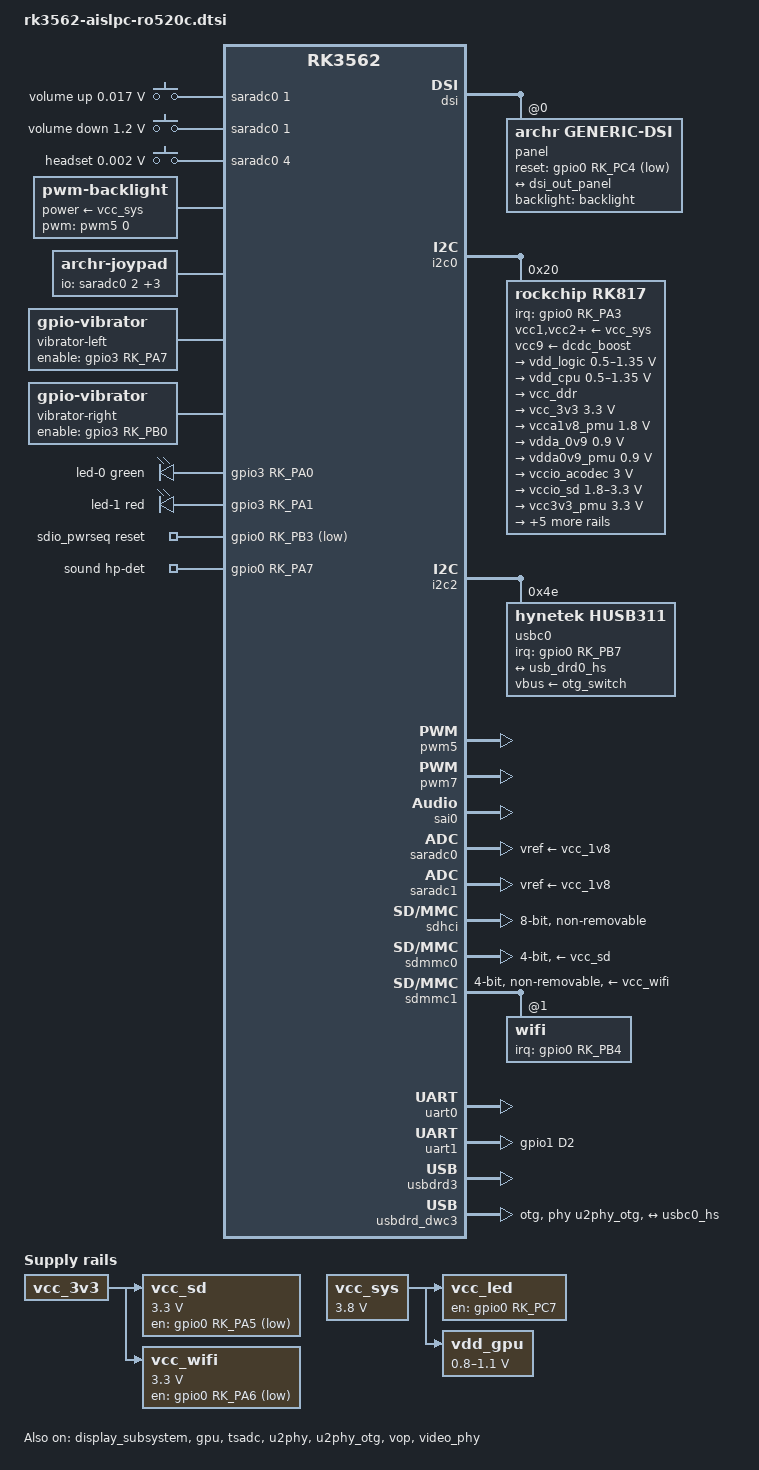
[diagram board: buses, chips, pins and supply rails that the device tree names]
// SPDX-License-Identifier: (GPL-2.0+ OR MIT)
/*
 * AISLPC "ro520c" board (RK3562), shared by the RG43V PRO and the RG52 MINI.
 *
 * Written for Arch R from the factory device trees of both consoles
 * (rk3562-ro520c-lp3x-v10/v14-linux.dtb, EmuELEC 4.7 firmware, decompiled
 * in .work/aislpc/<model>/dts) and from the AISLPC Pocket AIS mainline
 * tree (beebono/distribution, branch rk3562-pocket-ais), the closest
 * sibling device with a mainline DT. Line numbers in comments ("fab l.N")
 * refer to rg43vpro/dts/rk3562-ro520c-lp3x-v14-linux.resolvido.dts unless
 * another file is named.
 *
 * One DTB per panel, no overlays. Board revisions v10 and v14 share this
 * file; see the "v10/v14" notes below and LEIAME.md.
 */

#include <dt-bindings/gpio/gpio.h>
#include <dt-bindings/input/input.h>
#include <dt-bindings/interrupt-controller/irq.h>
#include <dt-bindings/leds/common.h>
#include <dt-bindings/pinctrl/rockchip.h>
#include <dt-bindings/pwm/pwm.h>
#include <dt-bindings/soc/rockchip,vop2.h>
#include <dt-bindings/usb/pd.h>
#include "rk3562.dtsi"

/ {
	aliases {
		mmc0 = &sdhci;
		mmc1 = &sdmmc0;
		mmc2 = &sdmmc1;
		serial0 = &uart0;
		serial1 = &uart1;
	};

	chosen: chosen {
		/* Factory console: fiq-debugger on UART0 at 1500000 (fab l.1599). */
		stdout-path = "serial0:1500000n8";
	};

	/* Volume keys on SARADC0 channel 1 (fab extrato-v14 l.1-17). */
	adc-keys-volume {
		compatible = "adc-keys";
		io-channels = <&saradc0 1>;
		io-channel-names = "buttons";
		keyup-threshold-microvolt = <1800000>;
		poll-interval = <100>;

		button-vol-up {
			label = "volume up";
			linux,code = <KEY_VOLUMEUP>;
			press-threshold-microvolt = <17000>;
		};

		button-vol-down {
			label = "volume down";
			linux,code = <KEY_VOLUMEDOWN>;
			press-threshold-microvolt = <1200000>;
		};
	};

	/* Headset button on SARADC0 channel 4 (rk817-sound, fab l.1150-1160). */
	adc-keys-headset {
		compatible = "adc-keys";
		io-channels = <&saradc0 4>;
		io-channel-names = "buttons";
		keyup-threshold-microvolt = <1800000>;
		poll-interval = <100>;

		button-headset {
			label = "headset";
			linux,code = <KEY_PLAYPAUSE>;
			press-threshold-microvolt = <2000>;
		};
	};

	/*
	 * SARADC0 channel 7 carries the board revision strap read by the
	 * factory U-Boot (< 1.5 V = v10, above = v14, RELATORIO 1.3) and, on
	 * the RG43V v14, a reset key (rst-keys, KEY_F1). It is left out: on a
	 * v10 board the channel sits low and would report a stuck key.
	 */

	/* Backlight: PWM5 (pwm@ff700010), 40 kHz, factory table (fab l.18-24). */
	backlight: backlight {
		compatible = "pwm-backlight";
		pwms = <&pwm5 0 25000 0>;
		power-supply = <&vcc_sys>;
		brightness-levels = <
			  0  20  20  21  21  22  22  23  23  24  24  25  25  26  26  27
			 27  28  28  29  29  30  30  31  31  32  32  33  33  34  34  35
			 35  36  36  37  37  38  38  39  40  41  42  43  44  45  46  47
			 48  49  50  51  52  53  54  55  56  57  58  59  60  61  62  63
			 64  65  66  67  68  69  70  71  72  73  74  75  76  77  78  79
			 80  81  82  83  84  85  86  87  88  89  90  91  92  93  94  95
			 96  97  98  99 100 101 102 103 104 105 106 107 108 109 110 111
			112 113 114 115 116 117 118 119 120 121 122 123 124 125 126 127
			128 129 130 131 132 133 134 135 136 137 138 139 140 141 142 143
			144 145 146 147 148 149 150 151 152 153 154 155 156 157 158 159
			160 161 162 163 164 165 166 167 168 169 170 171 172 173 174 175
			176 177 178 179 180 181 182 183 184 185 186 187 188 189 190 191
			192 193 194 195 196 197 198 199 200 201 202 203 204 205 206 207
			208 209 210 211 212 213 214 215 216 217 218 219 220 221 222 223
			224 225 226 227 228 229 230 231 232 233 234 235 236 237 238 239
			240 241 242 243 244 245 246 247 248 249 250 251 252 253 254 255>;
		default-brightness-level = <200>;
	};

	/*
	 * All game controls as one archr-joypad device (factory play_joystick,
	 * fab extrato-v14 l.1050-1121), with the R36S identity and button codes
	 * so its SDL, RetroArch and input_sense mappings apply unchanged.
	 *
	 * Sticks on SARADC0 channels 2, 3 (left) and 5, 6 (right). SARADC is
	 * 10 bit on a 1.8 V reference; factory calibration: 250..1550 mV,
	 * centre dead zone 790..1010 mV. The right stick reads low voltage as
	 * right/down (BSP rk3562-joystick.c, bmdhacks/kernel_rk3562 557e5c28),
	 * hence invert-absrx/ry; the left stick polarity is set per model.
	 *
	 * D-pad left/right/down and the face buttons A, X, Y are single buttons
	 * on SARADC1 channels 0, 2, 3, 5, 6, 7, released at 1.8 V; the press
	 * threshold is per model (RG43V 600 mV, RG52 80 mV), set in the .dts.
	 *
	 * L2/R2 are analog on SARADC1 channels 1 and 4 (50..800 mV, released =
	 * high). They are reported as the digital BTN_TL2/BTN_TR2 of the R36S:
	 * extra ABS_Z/ABS_RZ axes would renumber the right stick axes in SDL
	 * and RetroArch (axes are numbered in ABS code order).
	 *
	 * GPIO buttons are active low with pull-ups (fab extrato-v14
	 * l.1065-1066).
	 */
	joypad: joypad {
		compatible = "archr-joypad";
		pinctrl-names = "default";
		pinctrl-0 = <&btn_pins>;

		joypad-name = "r36s_Gamepad";
		joypad-bustype = <0x19>;		/* BUS_HOST */
		joypad-vendor = <0x0001>;
		joypad-product = <0x1188>;
		joypad-revision = <0x0188>;

		io-channels = <&saradc0 2>, <&saradc0 3>,
			      <&saradc0 5>, <&saradc0 6>;
		io-channel-names = "joy_left_x", "joy_left_y",
				   "joy_right_x", "joy_right_y";
		abs-left-first;

		poll-interval = <10>;

		/* reports in mV x 2: range -1800..1800 */
		button-adc-scale = <2>;
		/* factory centre dead zone is +-110 mV (220 here) */
		button-adc-deadzone = <200>;
		button-adc-fuzz = <32>;
		button-adc-flat = <32>;

		/* +-650 mV travel to full range after the dead zone */
		abs_x-p-tuning = <145>;
		abs_x-n-tuning = <145>;
		abs_y-p-tuning = <145>;
		abs_y-n-tuning = <145>;
		abs_rx-p-tuning = <145>;
		abs_rx-n-tuning = <145>;
		abs_ry-p-tuning = <145>;
		abs_ry-n-tuning = <145>;

		invert-absx = <0>;
		invert-absy = <0>;
		invert-absrx = <1>;
		invert-absry = <1>;

		key_left: button-dpad-left {
			io-channels = <&saradc1 0>;
			label = "DPAD-LEFT";
			linux,code = <BTN_DPAD_LEFT>;
			press-threshold-microvolt = <600000>;
		};

		key_right: button-dpad-right {
			io-channels = <&saradc1 2>;
			label = "DPAD-RIGHT";
			linux,code = <BTN_DPAD_RIGHT>;
			press-threshold-microvolt = <600000>;
		};

		key_down: button-dpad-down {
			io-channels = <&saradc1 3>;
			label = "DPAD-DOWN";
			linux,code = <BTN_DPAD_DOWN>;
			press-threshold-microvolt = <600000>;
		};

		key_south: button-south {
			io-channels = <&saradc1 5>;
			label = "SOUTH";
			linux,code = <BTN_SOUTH>;
			press-threshold-microvolt = <600000>;
		};

		key_north: button-north {
			io-channels = <&saradc1 6>;
			label = "NORTH";
			linux,code = <BTN_NORTH>;
			press-threshold-microvolt = <600000>;
		};

		key_west: button-west {
			io-channels = <&saradc1 7>;
			label = "WEST";
			linux,code = <BTN_WEST>;
			press-threshold-microvolt = <600000>;
		};

		/* Pressed below 400 mV, released above 500 mV. */
		button-l2 {
			io-channels = <&saradc1 1>;
			label = "L2";
			linux,code = <BTN_TL2>;
			press-threshold-microvolt = <400000>;
			release-threshold-microvolt = <500000>;
		};

		button-r2 {
			io-channels = <&saradc1 4>;
			label = "R2";
			linux,code = <BTN_TR2>;
			press-threshold-microvolt = <400000>;
			release-threshold-microvolt = <500000>;
		};

		button-l1 {
			gpios = <&gpio1 RK_PC7 GPIO_ACTIVE_LOW>;
			label = "L1";
			linux,code = <BTN_TL>;
		};

		button-dpad-up {
			gpios = <&gpio1 RK_PD0 GPIO_ACTIVE_LOW>;
			label = "DPAD-UP";
			linux,code = <BTN_DPAD_UP>;
		};

		button-r1 {
			gpios = <&gpio1 RK_PD5 GPIO_ACTIVE_LOW>;
			label = "R1";
			linux,code = <BTN_TR>;
		};

		button-east {
			gpios = <&gpio1 RK_PD6 GPIO_ACTIVE_LOW>;
			label = "EAST";
			linux,code = <BTN_EAST>;
		};

		button-select {
			gpios = <&gpio1 RK_PD3 GPIO_ACTIVE_LOW>;
			label = "SELECT";
			linux,code = <BTN_SELECT>;
		};

		button-start {
			gpios = <&gpio1 RK_PD7 GPIO_ACTIVE_LOW>;
			label = "START";
			linux,code = <BTN_START>;
		};

		/*
		 * GPIO1_D4: FN on the RG43V, HOME on the RG52 (per .dts). FN is
		 * BTN_MODE as on the R36S (input_sense hotkey).
		 */
		button_d4: button-d4 {
			gpios = <&gpio1 RK_PD4 GPIO_ACTIVE_LOW>;
			label = "FN";
			linux,code = <BTN_MODE>;
		};

		button-thumbl {
			gpios = <&gpio0 RK_PC5 GPIO_ACTIVE_LOW>;
			label = "THUMBL";
			linux,code = <BTN_THUMBL>;
		};

		button-thumbr {
			gpios = <&gpio0 RK_PC6 GPIO_ACTIVE_LOW>;
			label = "THUMBR";
			linux,code = <BTN_THUMBR>;
		};
	};

	/* Two on/off rumble motors (moto-gpio, moto-r-gpio, fab l.1067-1068). */
	vibrator-left {
		compatible = "gpio-vibrator";
		enable-gpios = <&gpio3 RK_PA7 GPIO_ACTIVE_HIGH>;
		pinctrl-names = "default";
		pinctrl-0 = <&vibrator_l_en>;
	};

	vibrator-right {
		compatible = "gpio-vibrator";
		enable-gpios = <&gpio3 RK_PB0 GPIO_ACTIVE_HIGH>;
		pinctrl-names = "default";
		pinctrl-0 = <&vibrator_r_en>;
	};

	/*
	 * Charge LEDs (charge_green_gpio / charge_red_gpio of the BSP battery
	 * driver, fab l.583-585), now driven by the rk817 charger triggers.
	 */
	leds {
		compatible = "gpio-leds";
		pinctrl-names = "default";
		pinctrl-0 = <&charge_led_pins>;

		led-0 {
			color = <LED_COLOR_ID_GREEN>;
			function = LED_FUNCTION_CHARGING;
			function-enumerator = <0>;
			gpios = <&gpio3 RK_PA0 GPIO_ACTIVE_HIGH>;
			linux,default-trigger = "rk817-charger-full";
		};

		led-1 {
			color = <LED_COLOR_ID_RED>;
			function = LED_FUNCTION_CHARGING;
			function-enumerator = <1>;
			gpios = <&gpio3 RK_PA1 GPIO_ACTIVE_HIGH>;
			linux,default-trigger = "rk817-charger-charging";
		};
	};

	/*
	 * SDIO Wi-Fi (RK915 on v10, AIC8800 on v14): both drivers are out of
	 * tree and find their chip by SDIO id, so one description serves both.
	 * Reset (WL_REG_ON) GPIO0_B3 active low, 32 kHz from RK817 clkout2,
	 * 200 ms after power on (fab sdio-pwrseq l.1178-1186).
	 */
	sdio_pwrseq: sdio-pwrseq {
		compatible = "mmc-pwrseq-simple";
		clocks = <&rk817 1>;
		clock-names = "ext_clock";
		pinctrl-names = "default";
		pinctrl-0 = <&wifi_enable_h>;
		post-power-on-delay-ms = <200>;
		reset-gpios = <&gpio0 RK_PB3 GPIO_ACTIVE_LOW>;
	};

	sound {
		compatible = "simple-audio-card";
		pinctrl-names = "default";
		pinctrl-0 = <&hp_det>;
		/* Same card name as the R36S, so Arch R's rk817 UCM applies. */
		simple-audio-card,name = "rk817_int";
		simple-audio-card,format = "i2s";
		simple-audio-card,hp-det-gpios = <&gpio0 RK_PA7 GPIO_ACTIVE_HIGH>;
		simple-audio-card,mclk-fs = <256>;
		simple-audio-card,widgets =
			"Microphone", "Mic Jack",
			"Headphone", "Headphones",
			"Speaker", "Speaker";
		simple-audio-card,routing =
			"MICL", "Mic Jack",
			"Headphones", "HPOL",
			"Headphones", "HPOR",
			"Speaker", "SPKO";

		simple-audio-card,codec {
			sound-dai = <&rk817>;
		};

		simple-audio-card,cpu {
			sound-dai = <&sai0>;
		};
	};

	/* LED MCU of the sticks (UART1, 9600 8N1), RELATORIO 5.3. */
	vcc_led: regulator-vcc-led {
		compatible = "regulator-fixed";
		enable-active-high;
		gpio = <&gpio0 RK_PC7 GPIO_ACTIVE_HIGH>;
		pinctrl-names = "default";
		pinctrl-0 = <&led_en>;
		regulator-always-on;
		regulator-boot-on;
		regulator-name = "vcc_led";
		vin-supply = <&vcc_sys>;
	};

	/* TF card power: GPIO0_A5 active low (fab vcc-sd l.1325-1336). */
	vcc_sd: regulator-vcc-sd {
		compatible = "regulator-fixed";
		gpio = <&gpio0 RK_PA5 GPIO_ACTIVE_LOW>;
		pinctrl-names = "default";
		pinctrl-0 = <&vcc_sd_en>;
		regulator-boot-on;
		regulator-max-microvolt = <3300000>;
		regulator-min-microvolt = <3300000>;
		regulator-name = "vcc_sd";
		vin-supply = <&vcc_3v3>;
	};

	vcc_sys: regulator-vcc-sys {
		compatible = "regulator-fixed";
		regulator-always-on;
		regulator-boot-on;
		regulator-max-microvolt = <3800000>;
		regulator-min-microvolt = <3800000>;
		regulator-name = "vcc_sys";
	};

	/*
	 * Wi-Fi module power: WIFI,poweren_gpio GPIO0_A6 active low in the
	 * factory wlan-platdata (fab l.1362-1370). The BSP rfkill driver
	 * drives it; mainline has no such driver, so it becomes the vmmc
	 * supply of the SDIO slot. [I] polarity from the factory DT, untested.
	 */
	vcc_wifi: regulator-vcc-wifi {
		compatible = "regulator-fixed";
		gpio = <&gpio0 RK_PA6 GPIO_ACTIVE_LOW>;
		pinctrl-names = "default";
		pinctrl-0 = <&wifi_poweren>;
		regulator-name = "vcc_wifi";
		regulator-max-microvolt = <3300000>;
		regulator-min-microvolt = <3300000>;
		vin-supply = <&vcc_3v3>;
	};

	/*
	 * GPU supply: PWM7 (pwm@ff700030), 5 us, inverted, 0.8..1.1 V
	 * (fab vdd-gpu l.1338-1349; the min was stored as a string there,
	 * bytes 00 0c 35 00 = 800000).
	 */
	vdd_gpu: regulator-vdd-gpu {
		compatible = "pwm-regulator";
		pwms = <&pwm7 0 5000 PWM_POLARITY_INVERTED>;
		pwm-supply = <&vcc_sys>;
		regulator-always-on;
		regulator-boot-on;
		regulator-max-microvolt = <1100000>;
		regulator-min-microvolt = <800000>;
		regulator-name = "vdd_gpu";
		regulator-settling-time-up-us = <250>;
	};
};

&cpu0 {
	cpu-supply = <&vdd_cpu>;
};

&cpu1 {
	cpu-supply = <&vdd_cpu>;
};

&cpu2 {
	cpu-supply = <&vdd_cpu>;
};

&cpu3 {
	cpu-supply = <&vdd_cpu>;
};

/*
 * The mainline table already holds the factory L0 (worst leakage) voltages
 * (fab cpu0-opp-table l.38-176), 408..2016 MHz. Only 1608 MHz carries
 * opp-supported-hw, which nothing sets on mainline, so the OPP core drops
 * it; the factory gives it the same mask (0xf9) as every other non-"J"
 * OPP. Make it usable like its neighbours.
 */
&cpu0_opp_table {
	opp-1608000000 {
		/delete-property/ opp-supported-hw;
	};
};

&display_subsystem {
	status = "okay";
};

&dsi {
	status = "okay";
	#address-cells = <1>;
	#size-cells = <0>;

	/* Panel: archr,generic-dsi; mode and init sequence in each .dts. */
	panel: panel@0 {
		compatible = "archr,generic-dsi";
		reg = <0>;
		backlight = <&backlight>;
		reset-gpios = <&gpio0 RK_PC4 GPIO_ACTIVE_LOW>;

		port {
			panel_in_dsi: endpoint {
				remote-endpoint = <&dsi_out_panel>;
			};
		};
	};
};

&dsi_in {
	dsi_in_vp0: endpoint {
		remote-endpoint = <&vp0_out_dsi>;
	};
};

&dsi_out {
	dsi_out_panel: endpoint {
		remote-endpoint = <&panel_in_dsi>;
	};
};

&gpu {
	mali-supply = <&vdd_gpu>;
	status = "okay";
};

&i2c0 {
	status = "okay";

	rk817: pmic@20 {
		compatible = "rockchip,rk817";
		reg = <0x20>;
		interrupt-parent = <&gpio0>;
		interrupts = <RK_PA3 IRQ_TYPE_LEVEL_LOW>;
		#clock-cells = <1>;
		clock-output-names = "rk808-clkout1", "rk808-clkout2";
		/* Codec MCLK: SAI0 MCLK through the GRF gate (Armbian 0014). */
		clocks = <&cru MCLK_SAI0_TO_IO>;
		clock-names = "mclk";
		assigned-clocks = <&cru MCLK_SAI0_OUT2IO>;
		assigned-clock-parents = <&cru MCLK_SAI0>;
		pinctrl-names = "default";
		/* spk_amp_en: the codec child is not a device of its own. */
		pinctrl-0 = <&i2s0m0_mclk>, <&pmic_int>, <&spk_amp_en>;
		system-power-controller;
		wakeup-source;
		#sound-dai-cells = <0>;

		vcc1-supply = <&vcc_sys>;
		vcc2-supply = <&vcc_sys>;
		vcc3-supply = <&vcc_sys>;
		vcc4-supply = <&vcc_sys>;
		vcc5-supply = <&vcc_sys>;
		vcc6-supply = <&vcc_sys>;
		vcc7-supply = <&vcc_sys>;
		vcc8-supply = <&vcc_sys>;
		vcc9-supply = <&dcdc_boost>;

		/* Regulators as in the factory DT (fab l.684-866). */
		regulators {
			vdd_logic: DCDC_REG1 {
				regulator-always-on;
				regulator-boot-on;
				regulator-initial-mode = <0x2>;
				regulator-max-microvolt = <1350000>;
				regulator-min-microvolt = <500000>;
				regulator-name = "vdd_logic";
				regulator-ramp-delay = <6001>;

				regulator-state-mem {
					regulator-off-in-suspend;
					regulator-suspend-microvolt = <900000>;
				};
			};

			vdd_cpu: DCDC_REG2 {
				regulator-always-on;
				regulator-boot-on;
				regulator-initial-mode = <0x2>;
				regulator-max-microvolt = <1350000>;
				regulator-min-microvolt = <500000>;
				regulator-name = "vdd_cpu";
				regulator-ramp-delay = <6001>;

				regulator-state-mem {
					regulator-off-in-suspend;
				};
			};

			vcc_ddr: DCDC_REG3 {
				regulator-always-on;
				regulator-boot-on;
				regulator-initial-mode = <0x2>;
				regulator-name = "vcc_ddr";

				regulator-state-mem {
					regulator-on-in-suspend;
				};
			};

			vcc_3v3: DCDC_REG4 {
				regulator-always-on;
				regulator-boot-on;
				regulator-initial-mode = <0x2>;
				regulator-max-microvolt = <3300000>;
				regulator-min-microvolt = <3300000>;
				regulator-name = "vcc_3v3";

				regulator-state-mem {
					regulator-on-in-suspend;
					regulator-suspend-microvolt = <3300000>;
				};
			};

			vcca1v8_pmu: LDO_REG1 {
				regulator-always-on;
				regulator-boot-on;
				regulator-max-microvolt = <1800000>;
				regulator-min-microvolt = <1800000>;
				regulator-name = "vcca1v8_pmu";

				regulator-state-mem {
					regulator-on-in-suspend;
					regulator-suspend-microvolt = <1800000>;
				};
			};

			vdda_0v9: LDO_REG2 {
				regulator-always-on;
				regulator-boot-on;
				regulator-max-microvolt = <900000>;
				regulator-min-microvolt = <900000>;
				regulator-name = "vdda_0v9";

				regulator-state-mem {
					regulator-off-in-suspend;
				};
			};

			vdda0v9_pmu: LDO_REG3 {
				regulator-always-on;
				regulator-boot-on;
				regulator-max-microvolt = <900000>;
				regulator-min-microvolt = <900000>;
				regulator-name = "vdda0v9_pmu";

				regulator-state-mem {
					regulator-on-in-suspend;
					regulator-suspend-microvolt = <900000>;
				};
			};

			vccio_acodec: LDO_REG4 {
				regulator-always-on;
				regulator-boot-on;
				regulator-max-microvolt = <3000000>;
				regulator-min-microvolt = <3000000>;
				regulator-name = "vccio_acodec";

				regulator-state-mem {
					regulator-off-in-suspend;
				};
			};

			vccio_sd: LDO_REG5 {
				regulator-always-on;
				regulator-boot-on;
				regulator-max-microvolt = <3300000>;
				regulator-min-microvolt = <1800000>;
				regulator-name = "vccio_sd";

				regulator-state-mem {
					regulator-off-in-suspend;
				};
			};

			vcc3v3_pmu: LDO_REG6 {
				regulator-always-on;
				regulator-boot-on;
				regulator-max-microvolt = <3300000>;
				regulator-min-microvolt = <3300000>;
				regulator-name = "vcc3v3_pmu";

				regulator-state-mem {
					regulator-on-in-suspend;
					regulator-suspend-microvolt = <3000000>;
				};
			};

			vcc_1v8: LDO_REG7 {
				regulator-always-on;
				regulator-boot-on;
				regulator-max-microvolt = <1800000>;
				regulator-min-microvolt = <1800000>;
				regulator-name = "vcc_1v8";

				regulator-state-mem {
					regulator-off-in-suspend;
				};
			};

			vcc1v8_dvp: LDO_REG8 {
				regulator-max-microvolt = <1800000>;
				regulator-min-microvolt = <1800000>;
				regulator-name = "vcc1v8_dvp";

				regulator-state-mem {
					regulator-off-in-suspend;
				};
			};

			vcc2v8_dvp: LDO_REG9 {
				regulator-max-microvolt = <2800000>;
				regulator-min-microvolt = <2800000>;
				regulator-name = "vcc2v8_dvp";

				regulator-state-mem {
					regulator-off-in-suspend;
				};
			};

			dcdc_boost: BOOST {
				regulator-always-on;
				regulator-boot-on;
				regulator-max-microvolt = <5400000>;
				regulator-min-microvolt = <4700000>;
				regulator-name = "boost";

				regulator-state-mem {
					regulator-off-in-suspend;
				};
			};

			otg_switch: OTG_SWITCH {
				regulator-name = "otg_switch";

				regulator-state-mem {
					regulator-off-in-suspend;
				};
			};
		};

		/* Battery values per model (monitored-battery in each .dts). */
		rk817_charger: charger {
			rockchip,resistor-sense-micro-ohms = <10000>;
			rockchip,sleep-enter-current-microamp = <300000>;
			rockchip,sleep-filter-current-microamp = <100000>;
		};

		/*
		 * The speaker hangs off HPOL/HPOR through an external amplifier
		 * enabled by GPIO3_C3 (factory codec: use-ext-amplifier,
		 * hp2extamplifier, hp-ctl-gpios GPIO3_C3, fab l.640-656). Arch R's
		 * rk817 ext-amplifier patch handles exactly this, as on the R35S.
		 */
		rk817_codec: codec {
			rockchip,mic-in-differential;
			rockchip,use-ext-amplifier;
			spk-ctl-gpios = <&gpio3 RK_PC3 GPIO_ACTIVE_HIGH>;
		};
	};
};

/*
 * Type-C port controller HUSB311 (RT1711H compatible), v14 boards only
 * (fab i2c@ffa10000 l.868-910). On a v10 board the probe fails with an I2C
 * error and nothing else depends on it: the RK817 sees VBUS by itself, and
 * the DWC3 stays in its default (peripheral) role.
 */
&i2c2 {
	status = "okay";

	usbc0: typec-portc@4e {
		compatible = "hynetek,husb311", "richtek,rt1711h";
		reg = <0x4e>;
		interrupt-parent = <&gpio0>;
		interrupts = <RK_PB7 IRQ_TYPE_LEVEL_LOW>;
		pinctrl-names = "default";
		pinctrl-0 = <&usbc0_int>;
		vbus-supply = <&otg_switch>;

		connector {
			compatible = "usb-c-connector";
			data-role = "dual";
			label = "USB-C";
			op-sink-microwatt = <1000000>;
			power-role = "dual";
			try-power-role = "sink";
			/* Factory PDOs 0x0401912c / 0x260190c8, decoded. */
			sink-pdos = <PDO_FIXED(5000, 3000, PDO_FIXED_USB_COMM)>;
			source-pdos = <PDO_FIXED(5000, 2000, PDO_FIXED_DUAL_ROLE |
						   PDO_FIXED_USB_COMM |
						   PDO_FIXED_DATA_SWAP)>;

			ports {
				#address-cells = <1>;
				#size-cells = <0>;

				port@0 {
					reg = <0>;

					usbc0_hs: endpoint {
						remote-endpoint = <&usb_drd0_hs>;
					};
				};
			};
		};
	};
};

&pinctrl {
	audio {
		hp_det: hp-det {
			rockchip,pins = <0 RK_PA7 RK_FUNC_GPIO &pcfg_pull_up>;
		};

		spk_amp_en: spk-amp-en {
			rockchip,pins = <3 RK_PC3 RK_FUNC_GPIO &pcfg_pull_down>;
		};
	};

	buttons {
		btn_pins: btn-pins {
			rockchip,pins = <0 RK_PC5 RK_FUNC_GPIO &pcfg_pull_up>,
					<0 RK_PC6 RK_FUNC_GPIO &pcfg_pull_up>,
					<1 RK_PC7 RK_FUNC_GPIO &pcfg_pull_up>,
					<1 RK_PD0 RK_FUNC_GPIO &pcfg_pull_up>,
					<1 RK_PD3 RK_FUNC_GPIO &pcfg_pull_up>,
					<1 RK_PD4 RK_FUNC_GPIO &pcfg_pull_up>,
					<1 RK_PD5 RK_FUNC_GPIO &pcfg_pull_up>,
					<1 RK_PD6 RK_FUNC_GPIO &pcfg_pull_up>,
					<1 RK_PD7 RK_FUNC_GPIO &pcfg_pull_up>,
					<2 RK_PA0 RK_FUNC_GPIO &pcfg_pull_up>;
		};

		vibrator_l_en: vibrator-l-en {
			rockchip,pins = <3 RK_PA7 RK_FUNC_GPIO &pcfg_pull_up>;
		};

		vibrator_r_en: vibrator-r-en {
			rockchip,pins = <3 RK_PB0 RK_FUNC_GPIO &pcfg_pull_up>;
		};
	};

	lcd {
		lcd_rst: lcd-rst {
			rockchip,pins = <0 RK_PC4 RK_FUNC_GPIO &pcfg_pull_none>;
		};
	};

	leds {
		charge_led_pins: charge-led-pins {
			rockchip,pins = <3 RK_PA0 RK_FUNC_GPIO &pcfg_pull_up>,
					<3 RK_PA1 RK_FUNC_GPIO &pcfg_pull_up>;
		};

		led_en: led-en {
			rockchip,pins = <0 RK_PC7 RK_FUNC_GPIO &pcfg_pull_up>;
		};

		/* MCU TX only (GPIO1_D2, uart1m0 tx); GPIO1_D1 is the RG52 fan PWM. */
		led_mcu_tx: led-mcu-tx {
			rockchip,pins = <1 RK_PD2 1 &pcfg_pull_up>;
		};
	};

	pmic {
		pmic_int: pmic-int {
			rockchip,pins = <0 RK_PA3 RK_FUNC_GPIO &pcfg_pull_up>;
		};
	};

	usb-typec {
		usbc0_int: usbc0-int {
			rockchip,pins = <0 RK_PB7 RK_FUNC_GPIO &pcfg_pull_up>;
		};
	};

	vcc-sd {
		vcc_sd_en: vcc-sd-en {
			rockchip,pins = <0 RK_PA5 RK_FUNC_GPIO &pcfg_pull_down>;
		};
	};

	wifi {
		wifi_enable_h: wifi-enable-h {
			rockchip,pins = <0 RK_PB3 RK_FUNC_GPIO &pcfg_pull_none>;
		};

		/* RK915 host wake, GPIO0_B4 (fab WIFI,host_wake_irq). */
		wifi_host_wake: wifi-host-wake {
			rockchip,pins = <0 RK_PB4 RK_FUNC_GPIO &pcfg_pull_down>;
		};

		wifi_poweren: wifi-poweren {
			rockchip,pins = <0 RK_PA6 RK_FUNC_GPIO &pcfg_pull_up>;
		};
	};
};

&pwm5 {
	status = "okay";
};

&pwm7 {
	status = "okay";
};

/* Factory SAI0 uses only LRCK/SCLK/SDI0/SDO0 (fab sai@ff800000 l.5487). */
&sai0 {
	pinctrl-names = "default";
	pinctrl-0 = <&i2s0m0_lrck &i2s0m0_sclk &i2s0m0_sdi0 &i2s0m0_sdo0>;
	status = "okay";
};

/* Both SARADCs use LDO7 (vcc_1v8) as reference (fab l.5534-5557). */
&saradc0 {
	vref-supply = <&vcc_1v8>;
	status = "okay";
};

&saradc1 {
	vref-supply = <&vcc_1v8>;
	status = "okay";
};

/* eMMC, HS400 with enhanced strobe as in the factory DT. */
&sdhci {
	bus-width = <8>;
	full-pwr-cycle-in-suspend;
	mmc-hs400-1_8v;
	mmc-hs400-enhanced-strobe;
	no-sd;
	no-sdio;
	non-removable;
	status = "okay";
};

/* TF card. */
&sdmmc0 {
	bus-width = <4>;
	cap-mmc-highspeed;
	cap-sd-highspeed;
	disable-wp;
	no-mmc;
	no-sdio;
	pinctrl-names = "default";
	pinctrl-0 = <&sdmmc0_bus4 &sdmmc0_clk &sdmmc0_cmd &sdmmc0_det>;
	sd-uhs-sdr104;
	vmmc-supply = <&vcc_sd>;
	vqmmc-supply = <&vccio_sd>;
	status = "okay";
};

/* SDIO Wi-Fi. */
&sdmmc1 {
	bus-width = <4>;
	cap-sd-highspeed;
	cap-sdio-irq;
	keep-power-in-suspend;
	mmc-pwrseq = <&sdio_pwrseq>;
	no-mmc;
	no-sd;
	non-removable;
	pinctrl-names = "default";
	pinctrl-0 = <&sdmmc1_bus4 &sdmmc1_clk &sdmmc1_cmd>;
	sd-uhs-sdr104;
	/* RK915 (v10 boards): CMD52 after data, clock never gated (patch 048). */
	supports-rk912;
	vmmc-supply = <&vcc_wifi>;
	#address-cells = <1>;
	#size-cells = <0>;
	status = "okay";

	/*
	 * SDIO function 1. The RK915 driver takes its out-of-band interrupt
	 * from here ("host-wake"); the AIC8800 (v14) ignores the node.
	 */
	wifi@1 {
		reg = <1>;
		interrupt-parent = <&gpio0>;
		interrupts = <RK_PB4 IRQ_TYPE_EDGE_RISING>;
		interrupt-names = "host-wake";
		pinctrl-names = "default";
		pinctrl-0 = <&wifi_host_wake>;
	};
};

&tsadc {
	status = "okay";
};

&u2phy {
	status = "okay";
};

&u2phy_otg {
	status = "okay";
};

&uart0 {
	pinctrl-names = "default";
	pinctrl-0 = <&uart0m0_xfer>;
	status = "okay";
};

/* Stick LED MCU: transmit only. */
&uart1 {
	pinctrl-names = "default";
	pinctrl-0 = <&led_mcu_tx>;
	status = "okay";
};

&usbdrd3 {
	status = "okay";
};

/*
 * The only USB controller: DWC3 OTG, high speed only, USB2 PHY only (the
 * combo PHY stays off; it is "okay" on v10 and "disabled" on v14 in the
 * factory DTs and nothing is wired to it). Role from the HUSB311 on v14;
 * peripheral by default (v10, or before the TCPC probes).
 */
&usbdrd_dwc3 {
	dr_mode = "otg";
	maximum-speed = "high-speed";
	phys = <&u2phy_otg>;
	phy-names = "usb2-phy";
	role-switch-default-mode = "peripheral";
	snps,dis_u2_susphy_quirk;
	snps,usb2-lpm-disable;
	usb-role-switch;
	status = "okay";

	port {
		usb_drd0_hs: endpoint {
			remote-endpoint = <&usbc0_hs>;
		};
	};
};

&vop {
	assigned-clocks = <&cru PLL_VPLL>, <&cru DCLK_VOP>;
	assigned-clock-parents = <0>, <&cru PLL_VPLL>;
	status = "okay";
};

&vop_mmu {
	status = "okay";
};

&video_phy {
	status = "okay";
};

&vp0 {
	vp0_out_dsi: endpoint@ROCKCHIP_VOP2_EP_MIPI0 {
		reg = <ROCKCHIP_VOP2_EP_MIPI0>;
		remote-endpoint = <&dsi_in_vp0>;
	};
};
